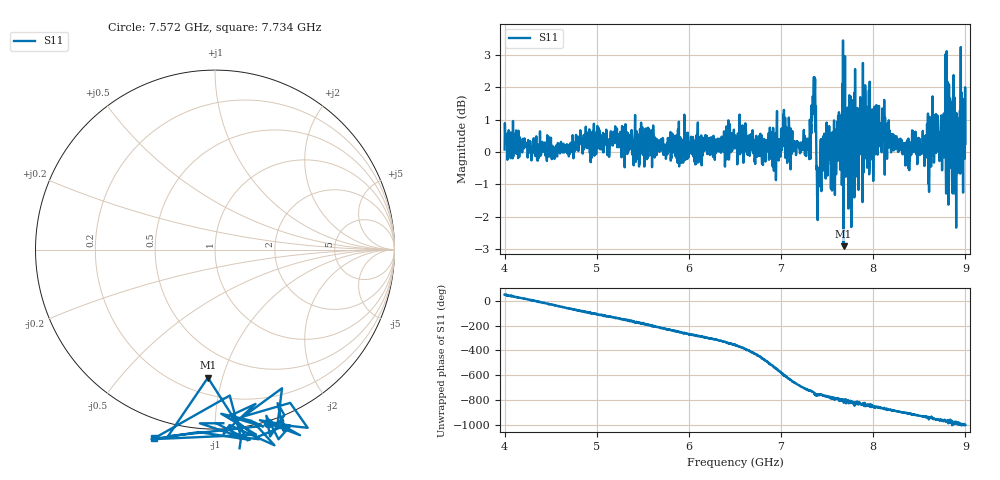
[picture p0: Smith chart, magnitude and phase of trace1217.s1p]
! Created with skrf 1.8.0 (http://scikit-rf.org).
# Hz S RI R 50.0
!freq ReS11 ImS11
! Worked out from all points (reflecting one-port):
!   1601 points, 4 GHz to 9 GHz, reference 50 ohm
!   lowest |S11| = -2.9 dB at 7.678 GHz (marker M1), VSWR 6.01, Z = 15.4 - j44.9 ohm
!   phase of S11 starts at 50 deg and turns -1053 deg over the sweep
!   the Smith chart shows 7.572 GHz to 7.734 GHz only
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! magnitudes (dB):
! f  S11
! 4 GHz  0.1
! 4.625 GHz  0.0
! 5.25 GHz  0.2
! 5.875 GHz  0.3
! 6.5 GHz  0.5
! 6.806 GHz  0.1
! 7.038 GHz  0.5
! 7.125 GHz  0.2
! 7.294 GHz  0.1
! 7.353 GHz  2.0
! 7.412 GHz  -0.5
! 7.475 GHz  0.0
! 7.566 GHz  -0.4
! 7.678 GHz  -2.9
! 7.75 GHz  1.1
! 7.769 GHz  -1.2
! 7.8 GHz  -1.4
! 7.928 GHz  1.0
! 7.981 GHz  0.2
! 8.047 GHz  -0.1
! 8.375 GHz  0.0
! 8.434 GHz  0.0
! 8.603 GHz  -0.9
! 8.788 GHz  -0.6
! 8.875 GHz  0.8
! 8.919 GHz  -0.2
! 8.956 GHz  0.1
! 9 GHz  0.3
